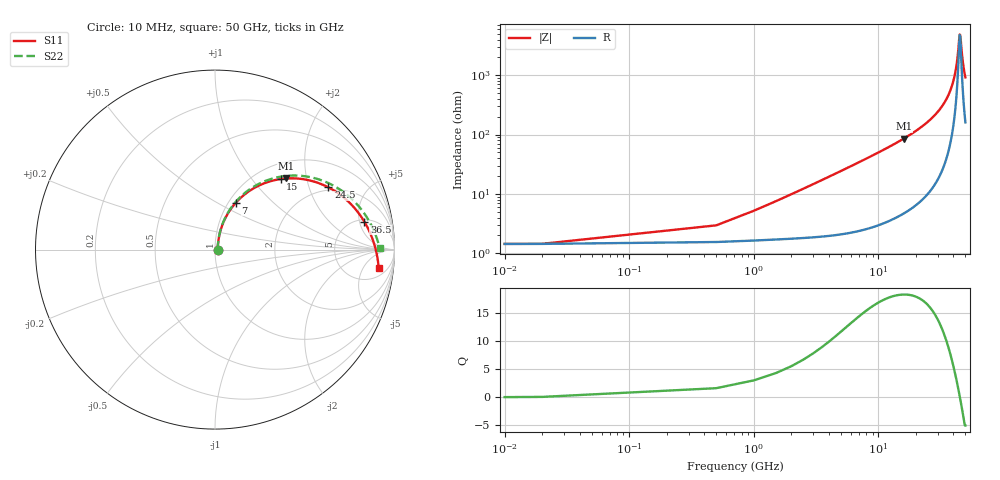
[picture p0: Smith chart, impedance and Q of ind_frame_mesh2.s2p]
! Created with skrf 2.1.0 (http://scikit-rf.org).
# GHz S DB R 50.0
! Port[1] = P1
! Port[2] = P2
!freq dBS11 angS11 dBS21 angS21 dBS12 angS12 dBS22 angS22
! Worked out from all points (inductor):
!   102 points, 10 MHz to 50 GHz, reference 50 ohm
!   read as 1/Y11, port 2 shorted: L = 775 pH near 1 GHz
!   highest Q = 18.3 at 16 GHz (marker M1), where L = 850 pH
!   self-resonance near 45 GHz
!   S11 on the Smith chart (normalised r, x): 10 MHz: 1.03, +0.00; 7 GHz: 1.08, +0.62; 15 GHz: 1.28, +1.41; 24.5 GHz: 1.88, +2.71; 36.5 GHz: 5.40, +5.93; 50 GHz: 9, -11
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0.01  -36.98 2.0  -0.12 -0.0  -0.12 -0.0  -36.98 2.0
0.5  -31.41 54.3  -0.14 -1.6  -0.14 -1.6  -31.40 54.4
1  -26.69 67.2  -0.15 -3.1  -0.15 -3.1  -26.69 67.3
1.5  -23.52 71.7  -0.17 -4.5  -0.17 -4.5  -23.52 71.8
2  -21.18 73.4  -0.19 -6.0  -0.19 -6.0  -21.18 73.6
3  -17.80 73.8  -0.24 -8.8  -0.24 -8.8  -17.80 74.1
4  -15.39 72.5  -0.31 -11.7  -0.31 -11.7  -15.40 72.9
5.5  -12.77 69.4  -0.43 -15.9  -0.43 -15.9  -12.77 70.1
7  -10.83 65.9  -0.59 -20.0  -0.59 -20.0  -10.84 66.7
8.5  -9.33 62.3  -0.77 -23.9  -0.77 -23.9  -9.34 63.3
11.5  -7.14 55.0  -1.21 -31.4  -1.21 -31.4  -7.15 56.4
15  -5.41 47.1  -1.80 -39.3  -1.80 -39.3  -5.42 48.9
16  -5.02 45.0  -1.98 -41.5  -1.98 -41.5  -5.03 46.9
17  -4.67 42.9  -2.16 -43.6  -2.16 -43.6  -4.68 44.9
20.5  -3.67 35.9  -2.84 -50.4  -2.84 -50.4  -3.68 38.5
24.5  -2.85 28.8  -3.64 -57.5  -3.64 -57.5  -2.86 31.8
25.5  -2.68 27.1  -3.85 -59.1  -3.85 -59.1  -2.69 30.3
29.5  -2.12 20.7  -4.68 -65.3  -4.68 -65.3  -2.13 24.4
33.5  -1.70 14.8  -5.51 -71.1  -5.51 -71.1  -1.71 19.1
36.5  -1.45 10.6  -6.15 -75.1  -6.15 -75.1  -1.46 15.4
42  -1.10 3.4  -7.33 -81.9  -7.33 -81.9  -1.11 9.0
50  -0.75 -6.4  -9.12 -91.1  -9.12 -91.1  -0.75 0.7
